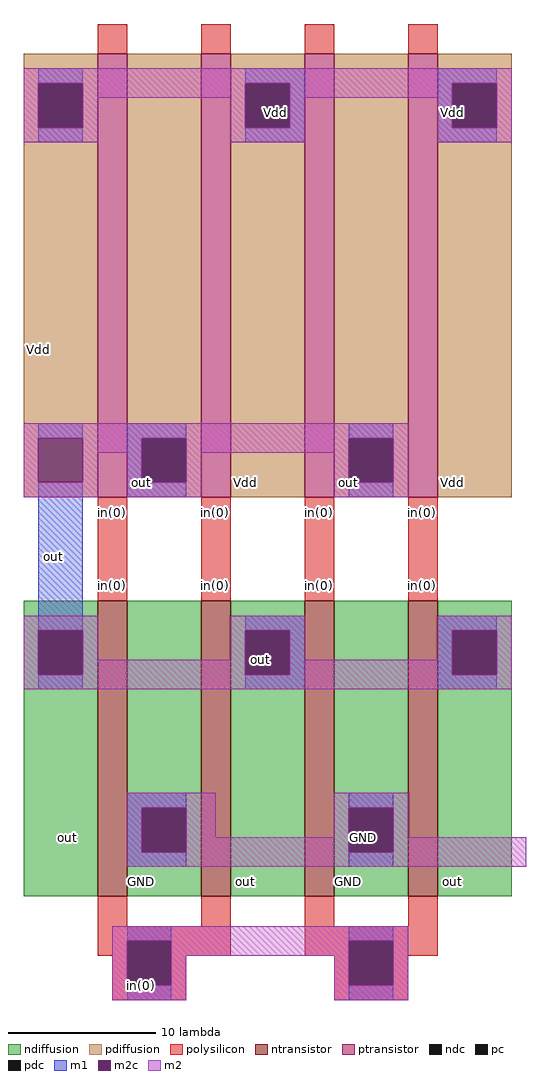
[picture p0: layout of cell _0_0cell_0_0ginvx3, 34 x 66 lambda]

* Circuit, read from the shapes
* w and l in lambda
.subckt _0_0cell_0_0ginvx3 GND Vdd out in(0)
M1 GND in(0) out VSUBS nfet w=20 l=2 m=4
M2 out in(0) Vdd NWELL pfet w=30 l=2 m=4
.ends

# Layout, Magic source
magic
tech sky130l
<< ndiffusion >>
rect 8 22 13 24
rect 8 19 9 22
rect 12 19 13 22
rect 8 4 13 19
rect 15 10 20 24
rect 15 7 16 10
rect 19 7 20 10
rect 15 4 20 7
rect 22 22 27 24
rect 22 19 23 22
rect 26 19 27 22
rect 22 4 27 19
rect 29 10 34 24
rect 29 7 30 10
rect 33 7 34 10
rect 29 4 34 7
rect 36 22 41 24
rect 36 19 37 22
rect 40 19 41 22
rect 36 4 41 19
<< ndc >>
rect 9 19 12 22
rect 16 7 19 10
rect 23 19 26 22
rect 30 7 33 10
rect 37 19 40 22
<< ntransistor >>
rect 13 4 15 24
rect 20 4 22 24
rect 27 4 29 24
rect 34 4 36 24
<< pdiffusion >>
rect 8 59 13 61
rect 8 56 9 59
rect 12 56 13 59
rect 8 31 13 56
rect 15 35 20 61
rect 15 32 16 35
rect 19 32 20 35
rect 15 31 20 32
rect 22 59 27 61
rect 22 56 23 59
rect 26 56 27 59
rect 22 31 27 56
rect 29 35 34 61
rect 29 32 30 35
rect 33 32 34 35
rect 29 31 34 32
rect 36 59 41 61
rect 36 56 37 59
rect 40 56 41 59
rect 36 31 41 56
<< pdc >>
rect 9 56 12 59
rect 16 32 19 35
rect 23 56 26 59
rect 30 32 33 35
rect 37 56 40 59
<< ptransistor >>
rect 13 31 15 61
rect 20 31 22 61
rect 27 31 29 61
rect 34 31 36 61
<< polysilicon >>
rect 13 61 15 63
rect 20 61 22 63
rect 27 61 29 63
rect 34 61 36 63
rect 13 24 15 31
rect 20 24 22 31
rect 27 24 29 31
rect 34 24 36 31
rect 13 2 15 4
rect 20 2 22 4
rect 13 1 22 2
rect 13 0 15 1
rect 14 -2 15 0
rect 18 0 22 1
rect 27 2 29 4
rect 34 2 36 4
rect 27 1 36 2
rect 27 0 30 1
rect 18 -2 19 0
rect 14 -3 19 -2
rect 29 -2 30 0
rect 33 0 36 1
rect 33 -2 34 0
rect 29 -3 34 -2
<< pc >>
rect 15 -2 18 1
rect 30 -2 33 1
<< m1 >>
rect 9 59 12 60
rect 9 55 12 56
rect 23 59 27 60
rect 26 56 27 59
rect 23 55 27 56
rect 36 59 40 60
rect 36 56 37 59
rect 36 55 40 56
rect 9 35 12 36
rect 9 22 12 32
rect 15 35 19 36
rect 15 32 16 35
rect 15 31 19 32
rect 30 35 33 36
rect 30 31 33 32
rect 9 18 12 19
rect 23 22 27 23
rect 26 19 27 22
rect 23 18 27 19
rect 36 22 40 23
rect 36 19 37 22
rect 36 18 40 19
rect 15 10 19 11
rect 15 7 16 10
rect 15 6 19 7
rect 30 10 33 11
rect 30 6 33 7
rect 15 1 18 2
rect 15 -3 18 -2
rect 30 1 33 2
rect 30 -3 33 -2
<< m2c >>
rect 9 56 12 59
rect 23 56 26 59
rect 37 56 40 59
rect 9 32 12 35
rect 16 32 19 35
rect 30 32 33 35
rect 9 19 12 22
rect 23 19 26 22
rect 37 19 40 22
rect 16 7 19 10
rect 30 7 33 10
rect 15 -2 18 1
rect 30 -2 33 1
<< m2 >>
rect 8 59 41 60
rect 8 56 9 59
rect 12 58 23 59
rect 12 56 13 58
rect 8 55 13 56
rect 22 56 23 58
rect 26 58 37 59
rect 26 56 27 58
rect 22 55 27 56
rect 36 56 37 58
rect 40 56 41 59
rect 36 55 41 56
rect 8 35 34 36
rect 8 32 9 35
rect 12 34 16 35
rect 12 32 13 34
rect 8 31 13 32
rect 15 32 16 34
rect 19 34 30 35
rect 19 32 20 34
rect 15 31 20 32
rect 29 32 30 34
rect 33 32 34 35
rect 29 31 34 32
rect 8 22 13 23
rect 8 19 9 22
rect 12 20 13 22
rect 22 22 27 23
rect 22 20 23 22
rect 12 19 23 20
rect 26 20 27 22
rect 36 22 41 23
rect 36 20 37 22
rect 26 19 37 20
rect 40 19 41 22
rect 8 18 41 19
rect 15 10 21 11
rect 15 7 16 10
rect 19 8 21 10
rect 29 10 34 11
rect 29 8 30 10
rect 19 7 30 8
rect 33 8 34 10
rect 33 7 42 8
rect 15 6 42 7
rect 14 1 34 2
rect 14 -2 15 1
rect 18 0 30 1
rect 18 -2 19 0
rect 14 -3 19 -2
rect 29 -2 30 0
rect 33 -2 34 1
rect 29 -3 34 -2
<< labels >>
rlabel ndiffusion 37 5 37 5 3 out
rlabel pdiffusion 37 32 37 32 3 Vdd
rlabel polysilicon 35 25 35 25 3 in(0)
rlabel polysilicon 35 30 35 30 3 in(0)
rlabel ndiffusion 30 5 30 5 3 GND
rlabel pdiffusion 30 32 30 32 3 out
rlabel polysilicon 28 25 28 25 3 in(0)
rlabel polysilicon 28 30 28 30 3 in(0)
rlabel ndiffusion 23 5 23 5 3 out
rlabel pdiffusion 23 32 23 32 3 Vdd
rlabel polysilicon 21 25 21 25 3 in(0)
rlabel polysilicon 21 30 21 30 3 in(0)
rlabel ndiffusion 16 5 16 5 3 GND
rlabel pdiffusion 16 32 16 32 3 out
rlabel polysilicon 14 25 14 25 3 in(0)
rlabel polysilicon 14 30 14 30 3 in(0)
rlabel m1 16 -2 16 -2 3 in(0)
port 4 e
rlabel ndiffusion 11 8 11 8 1 out
rlabel m2c 31 8 31 8 3 GND
port 1 e
rlabel m1 37 57 37 57 3 Vdd
port 2 e
rlabel m2c 25 57 25 57 1 Vdd
rlabel pdiffusion 9 41 9 41 3 Vdd
rlabel m1 10 27 10 27 3 out
port 3 e
rlabel m2c 24 20 24 20 1 out
<< end >>
